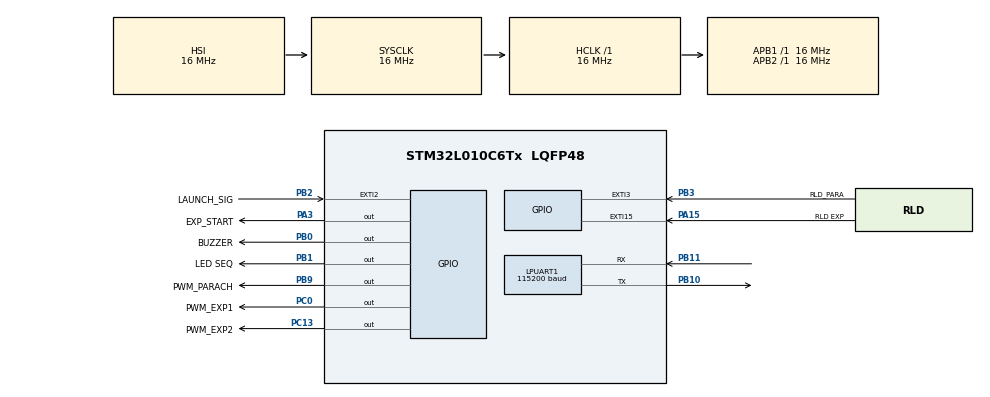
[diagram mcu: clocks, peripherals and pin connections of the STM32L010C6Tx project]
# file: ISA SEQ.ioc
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LPUART1.BaudRate=115200
Mcu.Family=STM32L0
Mcu.Name=STM32L010C6Tx
Mcu.Package=LQFP48
NVIC.EXTI2_3_IRQn=true\:0\:0\:false\:false\:true\:true\:true\:true
NVIC.EXTI4_15_IRQn=true\:0\:0\:false\:false\:true\:true\:true\:true
NVIC.TIM2_IRQn=true\:0\:0\:false\:false\:true\:true\:true\:true
PA13.Mode=Serial_Wire
PA13.Signal=SYS_SWDIO
PA14.Mode=Serial_Wire
PA14.Signal=SYS_SWCLK
PA15.GPIO_Label=RLD EXP
PA15.GPIO_ModeDefaultEXTI=GPIO_MODE_IT_FALLING
PA15.Signal=GPXTI15
PA3.GPIO_Label=EXP_START
PA3.PinState=GPIO_PIN_RESET
PA3.Signal=GPIO_Output
PB0.GPIO_Label=BUZZER
PB0.PinState=GPIO_PIN_RESET
PB0.Signal=GPIO_Output
PB1.GPIO_Label=LED SEQ
PB1.PinState=GPIO_PIN_RESET
PB1.Signal=GPIO_Output
PB10.Mode=Asynchronous
PB10.Signal=LPUART1_TX
PB11.Mode=Asynchronous
PB11.Signal=LPUART1_RX
PB2.GPIO_Label=LAUNCH_SIG
PB2.GPIO_ModeDefaultEXTI=GPIO_MODE_IT_FALLING
PB2.Signal=GPXTI2
PB3.GPIO_Label=RLD_PARA
PB3.GPIO_ModeDefaultEXTI=GPIO_MODE_IT_FALLING
PB3.Signal=GPXTI3
PB9.GPIO_Label=PWM_PARACH
PB9.GPIO_Speed=GPIO_SPEED_FREQ_VERY_HIGH
PB9.PinState=GPIO_PIN_RESET
PB9.Signal=GPIO_Output
PC0.GPIO_Label=PWM_EXP1
PC0.GPIO_Speed=GPIO_SPEED_FREQ_VERY_HIGH
PC0.PinState=GPIO_PIN_RESET
PC0.Signal=GPIO_Output
PC13-ANTI_TAMP.GPIO_Label=PWM_EXP2
PC13-ANTI_TAMP.GPIO_Speed=GPIO_SPEED_FREQ_VERY_HIGH
PC13-ANTI_TAMP.PinState=GPIO_PIN_RESET
PC13-ANTI_TAMP.Signal=GPIO_Output
ProjectManager.HeapSize=0x200
ProjectManager.StackSize=0x400
ProjectManager.TargetToolchain=STM32CubeIDE
RCC.AHBFreq_Value=16000000
RCC.APB1Freq_Value=16000000
RCC.APB1TimFreq_Value=16000000
RCC.APB2Freq_Value=16000000
RCC.APB2TimFreq_Value=16000000
RCC.HCLKFreq_Value=16000000
RCC.HSE_VALUE=8000000
RCC.HSI16_VALUE=16000000
RCC.HSI_VALUE=16000000
RCC.LSE_VALUE=32768
RCC.MSI_VALUE=2097000
RCC.PLLMUL=RCC_PLLMUL_4
RCC.SYSCLKFreq_VALUE=16000000
RCC.SYSCLKSource=RCC_SYSCLKSOURCE_HSI
RCC.VCOOutputFreq_Value=64000000
TIM2.Channel-Output\ Compare1\ No\ Output=TIM_CHANNEL_1
TIM2.Channel-Output\ Compare2\ No\ Output=TIM_CHANNEL_2
TIM2.Channel-Output\ Compare3\ No\ Output=TIM_CHANNEL_3
TIM2.Period=39999
TIM2.Prescaler=7
TIM2.Pulse-Output\ Compare1\ No\ Output=2500
TIM2.Pulse-Output\ Compare2\ No\ Output=3800
TIM2.Pulse-Output\ Compare3\ No\ Output=5000
TIM21.Period=65532
TIM21.Prescaler=3295
VP_TIM21_VS_ClockSourceINT.Mode=Internal
VP_TIM2_VS_ClockSourceINT.Mode=Internal
VP_TIM2_VS_no_output1.Mode=Output Compare1 No Output
VP_TIM2_VS_no_output2.Mode=Output Compare2 No Output
VP_TIM2_VS_no_output3.Mode=Output Compare3 No Output
board=custom

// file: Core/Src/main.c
/* USER CODE BEGIN Header */
/**
  ******************************************************************************
  * @file           : main.c
  * @brief          : Main program body
  ******************************************************************************
  * @attention
  *
  * Copyright (c) 2025 STMicroelectronics.
  * All rights reserved.
  *
  * This software is licensed under terms that can be found in the LICENSE file
  * in the root directory of this software component.
  * If no LICENSE file comes with this software, it is provided AS-IS.
  *
  ******************************************************************************
  */
/* USER CODE END Header */
#include "main.h"

/* USER CODE BEGIN PTD */
typedef enum  {
	WAITING,
	FIRST_PHASE,
	SECOND_PHASE,
	THIRD_PHASE
}State;

/* USER CODE END PTD */

UART_HandleTypeDef hlpuart1;

TIM_HandleTypeDef htim2;
TIM_HandleTypeDef htim21;

/* USER CODE BEGIN PV */
uint8_t state_PARA = 1;
uint8_t state_EXP = 1;
uint8_t rocket_launched = 0;

State systemstate = WAITING;
State recall = WAITING;

/* USER CODE END PV */

void SystemClock_Config(void);
static void MX_GPIO_Init(void);
static void MX_LPUART1_UART_Init(void);
static void MX_TIM2_Init(void);
static void MX_TIM21_Init(void);

/* USER CODE BEGIN 0 */

//reset the GPIO's pin for PWM
void HAL_TIM_PeriodElapsedCallback(TIM_HandleTypeDef* htim){
	if(htim->Instance == TIM2){
		GPIOC->BSRR = (1 << 0) | (1 << 13);
		GPIOB->BSRR = 1 << 9;
	}
	else if(htim->Instance == TIM21){
		switch(recall){
			case FIRST_PHASE: //first phase has ellapsed, throw in the parachute !
				systemstate = SECOND_PHASE;
				break;
			case SECOND_PHASE:
				systemstate = THIRD_PHASE;
				break;
			default:
				break;
		}
	}

}

void HAL_TIM_OC_DelayElapsedCallback(TIM_HandleTypeDef* htim){
	switch(htim->Channel){
		case HAL_TIM_ACTIVE_CHANNEL_1 : //PWM EXP1
			GPIOC->BSRR = 1 << 16;
			break;
		case HAL_TIM_ACTIVE_CHANNEL_2 : //PWM EXP2
			GPIOC->BSRR = 1 << 29;
			break;
		case HAL_TIM_ACTIVE_CHANNEL_3: //PWM PARA
			GPIOB->BSRR = 1 << 25;
			break;
		default:
			break;
	}
}
void HAL_GPIO_EXTI_Callback(uint16_t GPIO_Pin){

	if(!rocket_launched){
		switch(GPIO_Pin){
			case 4: //PB2 LAUNCH SIG, ROCKET LAUNCHED GLHF !!
				systemstate = FIRST_PHASE;
				break;
			case 8: //PB3 RELOAD PARA
				if(state_PARA){
					HAL_TIM_OC_Start_IT(&htim2, TIM_CHANNEL_3);
					TIM2->CCR3 = 5000;
				}
				else{ //CAREFULL, WILL EJECT THE HATCH !!
					TIM2->CCR3 = 3000;
				}
				state_PARA ^= 1;
				break;
			case 32768: //PA15 RELOAD EXP
				if(state_EXP){
					HAL_TIM_OC_Start_IT(&htim2, TIM_CHANNEL_1);
					HAL_TIM_OC_Start_IT(&htim2, TIM_CHANNEL_2);
				}
				else{
					HAL_TIM_OC_Stop_IT(&htim2, TIM_CHANNEL_1);
					HAL_TIM_OC_Stop_IT(&htim2, TIM_CHANNEL_2);
				}
				state_EXP ^= 1;
				break;
		}
	}
}

/* USER CODE END 0 */

int main(void)
{

  /* MCU Configuration--------------------------------------------------------*/

  /* Reset of all peripherals, Initializes the Flash interface and the Systick. */
  HAL_Init();

  /* Configure the system clock */
  SystemClock_Config();

  /* Initialize all configured peripherals */
  MX_GPIO_Init();
  MX_LPUART1_UART_Init();
  MX_TIM2_Init();
  MX_TIM21_Init();
  /* USER CODE BEGIN 2 */
  HAL_TIM_Base_Start_IT(&htim2);
  HAL_TIM_OC_Start_IT(&htim2, TIM_CHANNEL_3); //LOCK THE SERVO ON POWER UP

  /* USER CODE END 2 */

  /* Infinite loop */
  /* USER CODE BEGIN WHILE */
  while (1)
  {
	  GPIOB->ODR = 0b11;
	  HAL_Delay(2000);

	  switch(systemstate){
	  	  case WAITING:
			  break;

	  	  case FIRST_PHASE:
			rocket_launched = 1;
			GPIOA->ODR |= 1 << 3; //EXP_START SIG
			HAL_TIM_Base_Start_IT(&htim21); //start countdown until apoapsis 13.5sec
			recall = FIRST_PHASE;
			systemstate = WAITING;
			break;

		  case SECOND_PHASE:
			TIM2->CCR3 = 3000; //SERVO WILL UNLOCK !

			HAL_TIM_Base_Stop_IT(&htim21);
			TIM21->ARR = 65601;
			TIM21->PSC = 29311;
			TIM21->CNT = 0;
			HAL_TIM_Base_Start_IT(&htim21);//start countdown until landing 120sec

			HAL_Delay(3000);
			//TODO THrow in the exp servos
			recall = SECOND_PHASE;
			systemstate = WAITING;
			break;

		  case THIRD_PHASE:
			  //TODO Beep beep
			  break;
	  }

    /* USER CODE END WHILE */

  }
}

void SystemClock_Config(void)
{
  RCC_OscInitTypeDef RCC_OscInitStruct = {0};
  RCC_ClkInitTypeDef RCC_ClkInitStruct = {0};
  RCC_PeriphCLKInitTypeDef PeriphClkInit = {0};

  /** Configure the main internal regulator output voltage
  */
  __HAL_PWR_VOLTAGESCALING_CONFIG(PWR_REGULATOR_VOLTAGE_SCALE1);

  /** Initializes the RCC Oscillators according to the specified parameters
  * in the RCC_OscInitTypeDef structure.
  */
  RCC_OscInitStruct.OscillatorType = RCC_OSCILLATORTYPE_HSI;
  RCC_OscInitStruct.HSIState = RCC_HSI_ON;
  RCC_OscInitStruct.HSICalibrationValue = RCC_HSICALIBRATION_DEFAULT;
  RCC_OscInitStruct.PLL.PLLState = RCC_PLL_NONE;
  if (HAL_RCC_OscConfig(&RCC_OscInitStruct) != HAL_OK)
  {
    Error_Handler();
  }

  /** Initializes the CPU, AHB and APB buses clocks
  */
  RCC_ClkInitStruct.ClockType = RCC_CLOCKTYPE_HCLK|RCC_CLOCKTYPE_SYSCLK
                              |RCC_CLOCKTYPE_PCLK1|RCC_CLOCKTYPE_PCLK2;
  RCC_ClkInitStruct.SYSCLKSource = RCC_SYSCLKSOURCE_HSI;
  RCC_ClkInitStruct.AHBCLKDivider = RCC_SYSCLK_DIV1;
  RCC_ClkInitStruct.APB1CLKDivider = RCC_HCLK_DIV1;
  RCC_ClkInitStruct.APB2CLKDivider = RCC_HCLK_DIV1;

  if (HAL_RCC_ClockConfig(&RCC_ClkInitStruct, FLASH_LATENCY_0) != HAL_OK)
  {
    Error_Handler();
  }
  PeriphClkInit.PeriphClockSelection = RCC_PERIPHCLK_LPUART1;
  PeriphClkInit.Lpuart1ClockSelection = RCC_LPUART1CLKSOURCE_PCLK1;
  if (HAL_RCCEx_PeriphCLKConfig(&PeriphClkInit) != HAL_OK)
  {
    Error_Handler();
  }
}

static void MX_LPUART1_UART_Init(void)
{

  hlpuart1.Instance = LPUART1;
  hlpuart1.Init.BaudRate = 115200;
  hlpuart1.Init.WordLength = UART_WORDLENGTH_7B;
  hlpuart1.Init.StopBits = UART_STOPBITS_1;
  hlpuart1.Init.Parity = UART_PARITY_NONE;
  hlpuart1.Init.Mode = UART_MODE_TX_RX;
  hlpuart1.Init.HwFlowCtl = UART_HWCONTROL_NONE;
  hlpuart1.Init.OneBitSampling = UART_ONE_BIT_SAMPLE_DISABLE;
  hlpuart1.AdvancedInit.AdvFeatureInit = UART_ADVFEATURE_NO_INIT;
  if (HAL_UART_Init(&hlpuart1) != HAL_OK)
  {
    Error_Handler();
  }

}

static void MX_TIM2_Init(void)
{

  TIM_ClockConfigTypeDef sClockSourceConfig = {0};
  TIM_MasterConfigTypeDef sMasterConfig = {0};
  TIM_OC_InitTypeDef sConfigOC = {0};

  htim2.Instance = TIM2;
  htim2.Init.Prescaler = 7;
  htim2.Init.CounterMode = TIM_COUNTERMODE_UP;
  htim2.Init.Period = 39999;
  htim2.Init.ClockDivision = TIM_CLOCKDIVISION_DIV1;
  htim2.Init.AutoReloadPreload = TIM_AUTORELOAD_PRELOAD_DISABLE;
  if (HAL_TIM_Base_Init(&htim2) != HAL_OK)
  {
    Error_Handler();
  }
  sClockSourceConfig.ClockSource = TIM_CLOCKSOURCE_INTERNAL;
  if (HAL_TIM_ConfigClockSource(&htim2, &sClockSourceConfig) != HAL_OK)
  {
    Error_Handler();
  }
  if (HAL_TIM_OC_Init(&htim2) != HAL_OK)
  {
    Error_Handler();
  }
  sMasterConfig.MasterOutputTrigger = TIM_TRGO_RESET;
  sMasterConfig.MasterSlaveMode = TIM_MASTERSLAVEMODE_DISABLE;
  if (HAL_TIMEx_MasterConfigSynchronization(&htim2, &sMasterConfig) != HAL_OK)
  {
    Error_Handler();
  }
  sConfigOC.OCMode = TIM_OCMODE_TIMING;
  sConfigOC.Pulse = 2500;
  sConfigOC.OCPolarity = TIM_OCPOLARITY_HIGH;
  sConfigOC.OCFastMode = TIM_OCFAST_DISABLE;
  if (HAL_TIM_OC_ConfigChannel(&htim2, &sConfigOC, TIM_CHANNEL_1) != HAL_OK)
  {
    Error_Handler();
  }
  sConfigOC.Pulse = 3800;
  if (HAL_TIM_OC_ConfigChannel(&htim2, &sConfigOC, TIM_CHANNEL_2) != HAL_OK)
  {
    Error_Handler();
  }
  sConfigOC.Pulse = 5000;
  if (HAL_TIM_OC_ConfigChannel(&htim2, &sConfigOC, TIM_CHANNEL_3) != HAL_OK)
  {
    Error_Handler();
  }

}

static void MX_TIM21_Init(void)
{

  TIM_ClockConfigTypeDef sClockSourceConfig = {0};
  TIM_MasterConfigTypeDef sMasterConfig = {0};

  htim21.Instance = TIM21;
  htim21.Init.Prescaler = 3295;
  htim21.Init.CounterMode = TIM_COUNTERMODE_UP;
  htim21.Init.Period = 65532;
  htim21.Init.ClockDivision = TIM_CLOCKDIVISION_DIV1;
  htim21.Init.AutoReloadPreload = TIM_AUTORELOAD_PRELOAD_DISABLE;
  if (HAL_TIM_Base_Init(&htim21) != HAL_OK)
  {
    Error_Handler();
  }
  sClockSourceConfig.ClockSource = TIM_CLOCKSOURCE_INTERNAL;
  if (HAL_TIM_ConfigClockSource(&htim21, &sClockSourceConfig) != HAL_OK)
  {
    Error_Handler();
  }
  sMasterConfig.MasterOutputTrigger = TIM_TRGO_RESET;
  sMasterConfig.MasterSlaveMode = TIM_MASTERSLAVEMODE_DISABLE;
  if (HAL_TIMEx_MasterConfigSynchronization(&htim21, &sMasterConfig) != HAL_OK)
  {
    Error_Handler();
  }

}

static void MX_GPIO_Init(void)
{
  GPIO_InitTypeDef GPIO_InitStruct = {0};

  /* GPIO Ports Clock Enable */
  __HAL_RCC_GPIOC_CLK_ENABLE();
  __HAL_RCC_GPIOA_CLK_ENABLE();
  __HAL_RCC_GPIOB_CLK_ENABLE();

  /*Configure GPIO pin Output Level */
  HAL_GPIO_WritePin(GPIOC, PWM_EXP1_Pin|PWM_EXP2_Pin, GPIO_PIN_RESET);

  /*Configure GPIO pin Output Level */
  HAL_GPIO_WritePin(EXP_START_GPIO_Port, EXP_START_Pin, GPIO_PIN_RESET);

  /*Configure GPIO pin Output Level */
  HAL_GPIO_WritePin(GPIOB, BUZZER_Pin|LED_SEQ_Pin|PWM_PARACH_Pin, GPIO_PIN_RESET);

  /*Configure GPIO pins : PWM_EXP1_Pin PWM_EXP2_Pin */
  GPIO_InitStruct.Pin = PWM_EXP1_Pin|PWM_EXP2_Pin;
  GPIO_InitStruct.Mode = GPIO_MODE_OUTPUT_PP;
  GPIO_InitStruct.Pull = GPIO_NOPULL;
  GPIO_InitStruct.Speed = GPIO_SPEED_FREQ_VERY_HIGH;
  HAL_GPIO_Init(GPIOC, &GPIO_InitStruct);

  /*Configure GPIO pin : EXP_START_Pin */
  GPIO_InitStruct.Pin = EXP_START_Pin;
  GPIO_InitStruct.Mode = GPIO_MODE_OUTPUT_PP;
  GPIO_InitStruct.Pull = GPIO_NOPULL;
  GPIO_InitStruct.Speed = GPIO_SPEED_FREQ_LOW;
  HAL_GPIO_Init(EXP_START_GPIO_Port, &GPIO_InitStruct);

  /*Configure GPIO pins : BUZZER_Pin LED_SEQ_Pin */
  GPIO_InitStruct.Pin = BUZZER_Pin|LED_SEQ_Pin;
  GPIO_InitStruct.Mode = GPIO_MODE_OUTPUT_PP;
  GPIO_InitStruct.Pull = GPIO_NOPULL;
  GPIO_InitStruct.Speed = GPIO_SPEED_FREQ_LOW;
  HAL_GPIO_Init(GPIOB, &GPIO_InitStruct);

  /*Configure GPIO pins : LAUNCH_SIG_Pin RLD_PARA_Pin */
  GPIO_InitStruct.Pin = LAUNCH_SIG_Pin|RLD_PARA_Pin;
  GPIO_InitStruct.Mode = GPIO_MODE_IT_FALLING;
  GPIO_InitStruct.Pull = GPIO_NOPULL;
  HAL_GPIO_Init(GPIOB, &GPIO_InitStruct);

  /*Configure GPIO pin : RLD_EXP_Pin */
  GPIO_InitStruct.Pin = RLD_EXP_Pin;
  GPIO_InitStruct.Mode = GPIO_MODE_IT_FALLING;
  GPIO_InitStruct.Pull = GPIO_NOPULL;
  HAL_GPIO_Init(RLD_EXP_GPIO_Port, &GPIO_InitStruct);

  /*Configure GPIO pin : PWM_PARACH_Pin */
  GPIO_InitStruct.Pin = PWM_PARACH_Pin;
  GPIO_InitStruct.Mode = GPIO_MODE_OUTPUT_PP;
  GPIO_InitStruct.Pull = GPIO_NOPULL;
  GPIO_InitStruct.Speed = GPIO_SPEED_FREQ_VERY_HIGH;
  HAL_GPIO_Init(PWM_PARACH_GPIO_Port, &GPIO_InitStruct);

  /* EXTI interrupt init*/
  HAL_NVIC_SetPriority(EXTI2_3_IRQn, 0, 0);
  HAL_NVIC_EnableIRQ(EXTI2_3_IRQn);

  HAL_NVIC_SetPriority(EXTI4_15_IRQn, 0, 0);
  HAL_NVIC_EnableIRQ(EXTI4_15_IRQn);

}

void Error_Handler(void)
{
  __disable_irq();
  while (1)
  {
  }
}
